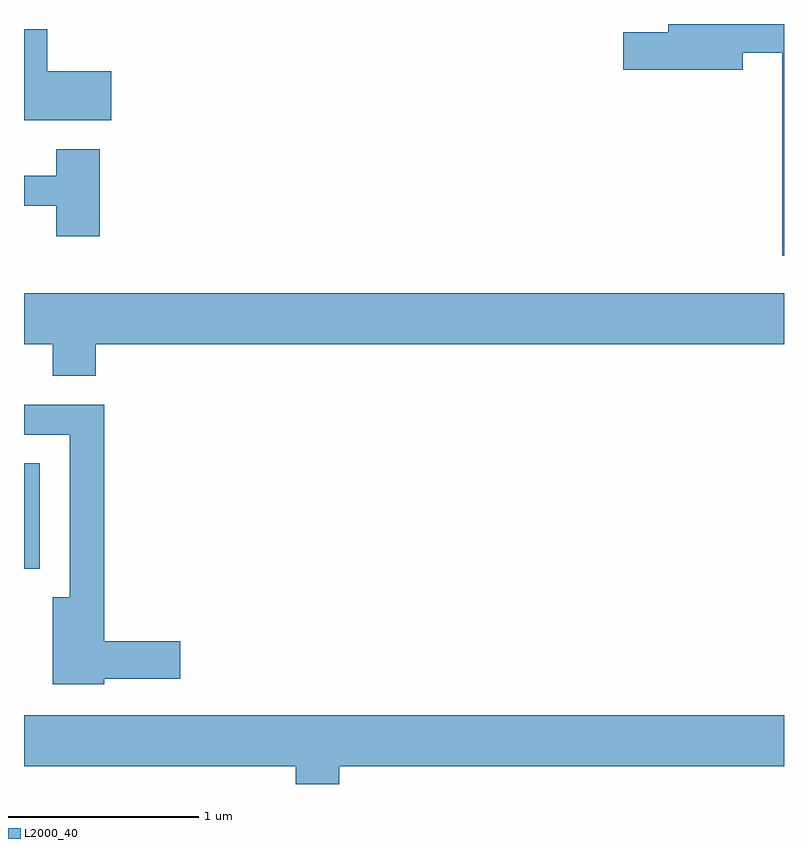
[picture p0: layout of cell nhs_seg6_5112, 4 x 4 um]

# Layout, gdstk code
import gdstk
lib = gdstk.Library(unit=1e-6, precision=1e-09)
def R(c, l, rs):  # rectangles x0, y0, x1, y1
    for r in rs: c.add(gdstk.rectangle(r[:2], r[2:], *l))
def P(c, l, *ps):  # polygons
    for p in ps: c.add(gdstk.Polygon(p, *l))
L2000_40 = (2000, 40)

nhs_seg6_5112 = lib.new_cell('nhs_seg6_5112')
R(nhs_seg6_5112, L2000_40, [(341.611,1553.296,341.694,1553.849)])
P(nhs_seg6_5112, L2000_40, [(345.611,1556.162),(345.001,1556.162),(345.001,1556.119),(344.766,1556.119),(344.766,1555.921),(345.394,1555.921),(345.394,1556.011),(345.601,1556.011),(345.601,1554.941),(345.611,1554.941)],
  [(342.069,1555.914),(341.734,1555.914),(341.734,1556.134),(341.611,1556.134),(341.611,1555.656),(342.069,1555.656)],
  [(342.009,1555.504),(341.781,1555.504),(341.781,1555.364),(341.611,1555.364),(341.611,1555.206),(341.781,1555.206),(341.781,1555.046),(342.009,1555.046)],
  [(341.989,1554.476),(345.611,1554.476),(345.611,1554.744),(341.611,1554.744),(341.611,1554.476),(341.761,1554.476),(341.761,1554.311),(341.989,1554.311)],
  [(342.034,1552.716),(342.434,1552.716),(342.434,1552.914),(342.034,1552.914),(342.034,1554.159),(341.611,1554.159),(341.611,1554.001),(341.851,1554.001),(341.851,1553.144),(341.761,1553.144),(341.761,1552.686),(342.034,1552.686)],
  [(343.269,1552.256),(345.611,1552.256),(345.611,1552.524),(341.611,1552.524),(341.611,1552.256),(343.041,1552.256),(343.041,1552.162),(343.269,1552.162)])

lib.write_gds('nhs_seg6_5112.gds')
